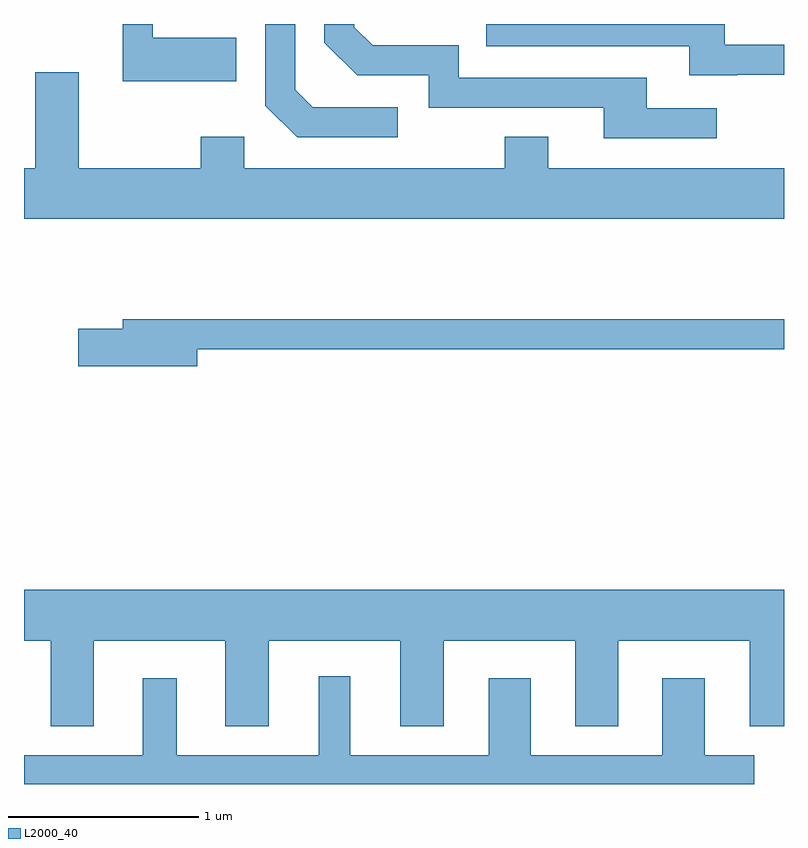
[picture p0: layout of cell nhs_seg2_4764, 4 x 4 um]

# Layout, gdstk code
import gdstk
lib = gdstk.Library(unit=1e-6, precision=1e-09)
def P(c, l, *ps):  # polygons
    for p in ps: c.add(gdstk.Polygon(p, *l))
L2000_40 = (2000, 40)

nhs_seg2_4764 = lib.new_cell('nhs_seg2_4764')
P(nhs_seg2_4764, L2000_40, [(326.729,1033.729),(326.289,1033.729),(326.289,1033.802),(326.131,1033.802),(326.131,1033.501),(326.729,1033.501)],
  [(329.365,1033.536),(329.611,1033.536),(329.611,1033.694),(329.299,1033.694),(329.299,1033.802),(328.043,1033.802),(328.043,1033.686),(329.111,1033.686),(329.111,1033.531),(329.365,1033.531)],
  [(327.578,1033.364),(327.132,1033.364),(327.039,1033.457),(327.039,1033.802),(326.881,1033.802),(326.881,1033.373),(327.049,1033.206),(327.578,1033.206)],
  [(329.258,1033.359),(328.889,1033.359),(328.889,1033.519),(327.899,1033.519),(327.899,1033.689),(327.447,1033.689),(327.349,1033.786),(327.349,1033.802),(327.191,1033.802),(327.191,1033.704),(327.364,1033.531),(327.741,1033.531),(327.741,1033.361),(328.661,1033.361),(328.661,1033.201),(329.258,1033.201)],
  [(329.611,1033.044),(328.369,1033.044),(328.369,1033.209),(328.141,1033.209),(328.141,1033.044),(326.769,1033.044),(326.769,1033.209),(326.541,1033.209),(326.541,1033.044),(325.899,1033.044),(325.899,1033.549),(325.671,1033.549),(325.671,1033.044),(325.611,1033.044),(325.611,1032.776),(329.611,1032.776)],
  [(326.524,1032.091),(329.611,1032.091),(329.611,1032.249),(326.131,1032.249),(326.131,1032.199),(325.896,1032.199),(325.896,1032.001),(326.524,1032.001)],
  [(325.979,1030.556),(326.671,1030.556),(326.671,1030.106),(326.899,1030.106),(326.899,1030.556),(327.591,1030.556),(327.591,1030.106),(327.819,1030.106),(327.819,1030.556),(328.511,1030.556),(328.511,1030.106),(328.739,1030.106),(328.739,1030.556),(329.431,1030.556),(329.431,1030.106),(329.611,1030.106),(329.611,1030.824),(325.611,1030.824),(325.611,1030.556),(325.751,1030.556),(325.751,1030.106),(325.979,1030.106)],
  [(329.454,1029.954),(329.194,1029.954),(329.194,1030.359),(328.971,1030.359),(328.971,1029.954),(328.279,1029.954),(328.279,1030.359),(328.056,1030.359),(328.056,1029.954),(327.329,1029.954),(327.329,1030.368),(327.161,1030.368),(327.161,1029.954),(326.414,1029.954),(326.414,1030.359),(326.236,1030.359),(326.236,1029.954),(325.611,1029.954),(325.611,1029.802),(329.454,1029.802)])

lib.write_gds('nhs_seg2_4764.gds')
